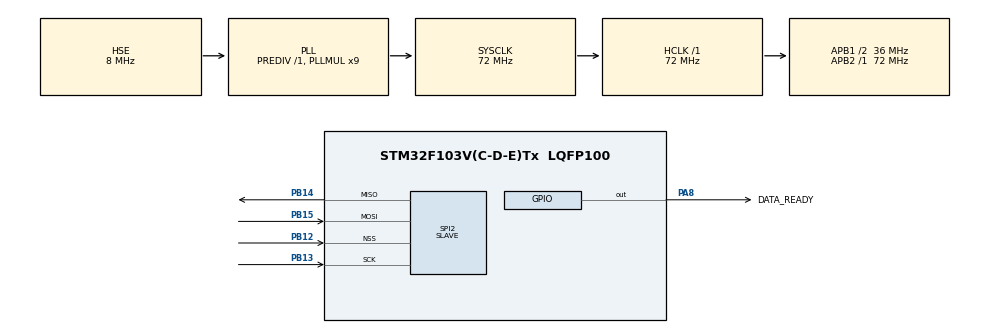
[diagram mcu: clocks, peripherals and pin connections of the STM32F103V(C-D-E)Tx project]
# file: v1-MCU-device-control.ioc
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Mcu.Family=STM32F1
Mcu.Name=STM32F103V(C-D-E)Tx
Mcu.Package=LQFP100
NVIC.PriorityGroup=NVIC_PRIORITYGROUP_4
NVIC.SPI2_IRQn=true\:1\:0\:true\:false\:true\:true\:true\:true
NVIC.TIM2_IRQn=true\:3\:0\:true\:false\:true\:true\:true\:true
OSC_IN.Mode=HSE-External-Oscillator
OSC_IN.Signal=RCC_OSC_IN
OSC_OUT.Mode=HSE-External-Oscillator
OSC_OUT.Signal=RCC_OSC_OUT
PA13.Mode=Serial_Wire
PA13.Signal=SYS_JTMS-SWDIO
PA14.Mode=Serial_Wire
PA14.Signal=SYS_JTCK-SWCLK
PA8.GPIO_Label=DATA_READY
PA8.Signal=GPIO_Output
PB12.Mode=NSS_Signal_Hard_Input
PB12.Signal=SPI2_NSS
PB13.Mode=Full_Duplex_Slave
PB13.Signal=SPI2_SCK
PB14.Mode=Full_Duplex_Slave
PB14.Signal=SPI2_MISO
PB15.Mode=Full_Duplex_Slave
PB15.Signal=SPI2_MOSI
ProjectManager.HeapSize=0x200
ProjectManager.StackSize=0x400
ProjectManager.TargetToolchain=CMake
RCC.AHBFreq_Value=72000000
RCC.APB1CLKDivider=RCC_HCLK_DIV2
RCC.APB1Freq_Value=36000000
RCC.APB1TimFreq_Value=72000000
RCC.APB2Freq_Value=72000000
RCC.APB2TimFreq_Value=72000000
RCC.HCLKFreq_Value=72000000
RCC.PLLMUL=RCC_PLL_MUL9
RCC.PLLSourceVirtual=RCC_PLLSOURCE_HSE
RCC.SYSCLKFreq_VALUE=72000000
RCC.SYSCLKSource=RCC_SYSCLKSOURCE_PLLCLK
RCC.USBFreq_Value=72000000
SPI2.Direction=SPI_DIRECTION_2LINES
SPI2.Mode=SPI_MODE_SLAVE
SPI2.VirtualNSS=VM_NSSHARD
SPI2.VirtualType=VM_SLAVE
TIM2.Period=9
TIM2.Prescaler=7199
VP_TIM2_VS_ClockSourceINT.Mode=Internal
board=custom

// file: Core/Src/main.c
/* USER CODE BEGIN Header */
/**
 ******************************************************************************
 * @file           : main.c
 * @brief          : Main program body
 ******************************************************************************
 * @attention
 *
 * Copyright (c) 2026 STMicroelectronics.
 * All rights reserved.
 *
 * This software is licensed under terms that can be found in the LICENSE file
 * in the root directory of this software component.
 * If no LICENSE file comes with this software, it is provided AS-IS.
 *
 ******************************************************************************
 */
/* USER CODE END Header */
#include "main.h"
#include "spi.h"
#include "tim.h"
#include "gpio.h"

/* USER CODE BEGIN Includes */
#include "devauth.h"

/* USER CODE END Includes */

/* USER CODE BEGIN PV */

/* ═══════════════════════════════════════════
 *  Protocol constants
 * ═══════════════════════════════════════════ */
#define FRAME_LEN 5
#define CMD_WRITE_FLAG 0x80
#define CMD_ADDR_MASK 0x7F

/* ═══════════════════════════════════════════
 *  Register addresses
 * ═══════════════════════════════════════════ */
#define REG_DEVICE_ID 0x00
#define REG_FW_VERSION 0x01
#define REG_STATUS 0x02
#define REG_CONTROL 0x03
#define REG_SAMPLE_RATE 0x04
#define REG_FIFO_LEVEL 0x05
#define REG_DATA_SEQ 0x06
#define REG_DATA_VAL 0x07
#define REG_OVERFLOW_COUNT 0x08
#define REG_SPI_REARM_FAIL 0x09
#define REG_SPI_ERROR_COUNT 0x0A
/* Device authentication (docs/security/device-authentication.md) */
#define REG_AUTH_NONCE0 0x10 /* ..0x13: 16-byte nonce, big-endian words */
#define REG_AUTH_CTRL 0x14   /* write 1: compute the MAC for the nonce */
#define REG_AUTH_MAC0 0x15   /* ..0x18: truncated HMAC, big-endian words */
#define REG_AUTH_CYCLES 0x19 /* CPU cycles the last MAC took (DWT) */
#define REG_NOP 0x7F

/* ═══════════════════════════════════════════
 *  STATUS bit definitions
 * ═══════════════════════════════════════════ */
#define ST_RUNNING (1u << 0)
#define ST_CMD_ERR (1u << 1)
#define ST_RANGE_ERR (1u << 2)
#define ST_SPI_RESYNC (1u << 3)
#define ST_AUTH_BUSY (1u << 4)
#define ST_AUTH_DONE (1u << 5)
#define ST_AUTH_NOKEY (1u << 6)

/* Written once at pairing, never by this firmware. */
#define DEVAUTH_KEY ((const uint8_t *)0x0807F800u)
#define DEVICE_ID 0xAC00ACC0u
#define FW_VERSION 0x00010400u /* v1.4: v1.3 + device authentication */

/* ═══════════════════════════════════════════
 *  SPI buffers
 * ═══════════════════════════════════════════ */
static uint8_t rx_buf[FRAME_LEN];
static uint8_t tx_buf[FRAME_LEN];

/* ═══════════════════════════════════════════
 *  Register state
 * ═══════════════════════════════════════════ */
static volatile uint32_t reg_status = 0;
static volatile uint32_t reg_control = 0;
static volatile uint32_t reg_sample_rate = 1000;

/* Device authentication. The SPI ISR only stores the nonce and raises
 * auth_request; the MAC is computed in the main loop, so the ISR keeps
 * re-arming within the inter-frame gap (see case-01/case-02). */
static volatile uint32_t auth_nonce[4];
static volatile uint32_t auth_mac[4];
static volatile uint32_t auth_cycles = 0;
static volatile uint8_t auth_request = 0;

/* ═══════════════════════════════════════════
 *  FIFO
 * ═══════════════════════════════════════════ */
#define FIFO_DEPTH 32

typedef struct
{
  uint32_t sequence;
  uint32_t value;
} FifoItem;

static FifoItem fifo_buf[FIFO_DEPTH];
static volatile uint16_t fifo_head = 0;     /* next write slot */
static volatile uint16_t fifo_tail = 0;     /* next read slot */
static volatile uint32_t fifo_overflow = 0; /* cumulative drop count */
static volatile uint32_t seq_counter = 0;   /* global monotonic sequence number */

/* Diagnostic counter: how many times HAL_SPI_TransmitReceive_IT failed to
 * re-arm. Used to check whether "once wedged, no further data ever comes
 * in" actually holds. */
static volatile uint32_t spi_rearm_fail = 0;

/* Diagnostic counter: total number of HAL_SPI_ErrorCallback invocations.
 * Used to distinguish "CPU still alive, SPI hardware keeps erroring" from
 * "CPU/interrupts stopped responding entirely at some point" (in the
 * latter case this counter simply stops increasing). */
static volatile uint32_t spi_error_count = 0;

/* peek/pop intermediate state */
static uint32_t last_seq = 0;
static uint32_t last_val = 0;
static uint8_t item_peeked = 0;

/* ═══════════════════════════════════════════
 *  Peripheral handles (declared elsewhere by CubeMX, externed here)
 * ═══════════════════════════════════════════ */
extern SPI_HandleTypeDef hspi2;
extern TIM_HandleTypeDef htim2;

/* USER CODE END PV */

void SystemClock_Config(void);
/* USER CODE BEGIN PFP */

static uint32_t unpack_u32(const uint8_t *p);
static void pack_u32(uint8_t *p, uint32_t v);
static uint32_t reg_read(uint8_t addr);
static void reg_write(uint8_t addr, uint32_t val);
static void handle_frame(void);
static void devauth_service(void);
static void spi_resync(void);
static void update_data_ready_gpio(void);
static void update_timer_rate(uint32_t rate_hz);
static void fifo_push(uint32_t value);
static uint8_t fifo_peek(uint32_t *seq_out, uint32_t *val_out);
static uint8_t fifo_pop(void);

/* USER CODE END PFP */

/* USER CODE BEGIN 0 */

/* ═══════════════════════════════════════════
 *  Utility functions
 * ═══════════════════════════════════════════ */
static uint32_t unpack_u32(const uint8_t *p)
{
  return ((uint32_t)p[0] << 24) | ((uint32_t)p[1] << 16) |
         ((uint32_t)p[2] << 8) | (uint32_t)p[3];
}

static void pack_u32(uint8_t *p, uint32_t v)
{
  p[0] = v >> 24;
  p[1] = v >> 16;
  p[2] = v >> 8;
  p[3] = v;
}

/* ═══════════════════════════════════════════
 *  FIFO operations
 * ═══════════════════════════════════════════ */
static uint16_t fifo_level(void) {
    uint16_t h = fifo_head;
    uint16_t t = fifo_tail;
    if (h >= t) return h - t;
    return FIFO_DEPTH - t + h;
}

static void fifo_push(uint32_t value) {
    uint16_t next = (fifo_head + 1) % FIFO_DEPTH;
    if (next == fifo_tail) {
        /* full - drop the sample */
        fifo_overflow++;
        return;
    }
    fifo_buf[fifo_head].sequence = seq_counter++;
    fifo_buf[fifo_head].value    = value;
    fifo_head = next;  /* this is what makes the new item visible to the consumer */
}

static uint8_t fifo_peek(uint32_t *seq_out, uint32_t *val_out) {
    if (fifo_head == fifo_tail) return 0;
    *seq_out = fifo_buf[fifo_tail].sequence;
    *val_out = fifo_buf[fifo_tail].value;
    return 1;
}

static uint8_t fifo_pop(void) {
    if (fifo_head == fifo_tail) return 0;
    fifo_tail = (fifo_tail + 1) % FIFO_DEPTH;
    return 1;
}
/* ═══════════════════════════════════════════
 *  DATA_READY GPIO
 * ═══════════════════════════════════════════ */
static void update_data_ready_gpio(void)
{
  // if (fifo_count > 0)
  // {
  //   HAL_GPIO_WritePin(GPIOA, GPIO_PIN_8, GPIO_PIN_SET);
  // }
  // else
  // {
  //   HAL_GPIO_WritePin(GPIOA, GPIO_PIN_8, GPIO_PIN_RESET);
  // }

      if (fifo_head != fifo_tail) {
        HAL_GPIO_WritePin(GPIOA, GPIO_PIN_8, GPIO_PIN_SET);
    } else {
        HAL_GPIO_WritePin(GPIOA, GPIO_PIN_8, GPIO_PIN_RESET);
    }

}

/* ═══════════════════════════════════════════
 *  Timer rate update
 * ═══════════════════════════════════════════ */
static void update_timer_rate(uint32_t rate_hz)
{
  /*
   * base freq = 72 MHz / 7200 = 10000 Hz
   * period = 10000 / rate_hz
   * rate_hz valid range 1-10000 -> period range 1-10000
   */
  uint32_t period = 10000 / rate_hz;
  if (period < 1)
    period = 1;

  __HAL_TIM_SET_AUTORELOAD(&htim2, period - 1);
  __HAL_TIM_SET_COUNTER(&htim2, 0);
}

/* ═══════════════════════════════════════════
 *  SPI error recovery
 * ═══════════════════════════════════════════ */
static void spi_resync(void)
{
  volatile uint32_t tmp;

  __HAL_SPI_DISABLE(&hspi2);
  tmp = hspi2.Instance->DR;
  tmp = hspi2.Instance->SR;
  (void)tmp;
  __HAL_SPI_CLEAR_OVRFLAG(&hspi2);

  hspi2.State = HAL_SPI_STATE_READY;
  hspi2.ErrorCode = HAL_SPI_ERROR_NONE;
  hspi2.Lock = HAL_UNLOCKED; /* guards against the previous error path leaving
                                the lock held, which would make every future
                                HAL_SPI_TransmitReceive_IT call silently
                                return HAL_BUSY forever */

  reg_status |= ST_SPI_RESYNC;

  __HAL_SPI_ENABLE(&hspi2);
}

/* ═══════════════════════════════════════════
 *  Register read
 * ═══════════════════════════════════════════ */
static uint32_t reg_read(uint8_t addr)
{
  switch (addr)
  {
  /* -- carried over from V1.2 -- */
  case REG_DEVICE_ID:
    return DEVICE_ID;

  case REG_FW_VERSION:
    return FW_VERSION;

  case REG_STATUS:
    return reg_status;

  case REG_CONTROL:
    return reg_control;

  case REG_SAMPLE_RATE:
    return reg_sample_rate;

  case REG_NOP:
    return 0;

  /* -- new in V1.3 -- */
  case REG_FIFO_LEVEL:
    return fifo_level();

  case REG_DATA_SEQ:
    if (fifo_peek(&last_seq, &last_val))
    {
      item_peeked = 1;
      return last_seq;
    }
    return 0;

  case REG_DATA_VAL:
    if (item_peeked)
    {
      item_peeked = 0;
      fifo_pop();
      update_data_ready_gpio();
      return last_val;
    }
    if (fifo_peek(&last_seq, &last_val))
    {
      fifo_pop();
      update_data_ready_gpio();
      return last_val;
    }
    return 0;

  case REG_OVERFLOW_COUNT:
    return fifo_overflow;

  case REG_SPI_REARM_FAIL:
    return spi_rearm_fail;

  case REG_AUTH_NONCE0:
  case REG_AUTH_NONCE0 + 1:
  case REG_AUTH_NONCE0 + 2:
  case REG_AUTH_NONCE0 + 3:
    return auth_nonce[addr - REG_AUTH_NONCE0];
  case REG_AUTH_MAC0:
  case REG_AUTH_MAC0 + 1:
  case REG_AUTH_MAC0 + 2:
  case REG_AUTH_MAC0 + 3:
    return auth_mac[addr - REG_AUTH_MAC0];
  case REG_AUTH_CYCLES:
    return auth_cycles;
  case REG_SPI_ERROR_COUNT:
    return spi_error_count;

  default:
    reg_status |= ST_CMD_ERR;
    return 0;
  }
}

/* ═══════════════════════════════════════════
 *  Register write
 * ═══════════════════════════════════════════ */
static void reg_write(uint8_t addr, uint32_t val)
{
  switch (addr)
  {
  case REG_AUTH_NONCE0:
  case REG_AUTH_NONCE0 + 1:
  case REG_AUTH_NONCE0 + 2:
  case REG_AUTH_NONCE0 + 3:
    auth_nonce[addr - REG_AUTH_NONCE0] = val;
    break;

  case REG_AUTH_CTRL:
    if (val & 0x01u)
    {
      reg_status &= ~(ST_AUTH_DONE | ST_AUTH_NOKEY);
      reg_status |= ST_AUTH_BUSY;
      auth_request = 1;
    }
    break;

  case REG_CONTROL:
    /* CLEAR_FLAGS */
    if (val & 0x02u)
    {
      reg_status &= ~(ST_CMD_ERR | ST_RANGE_ERR | ST_SPI_RESYNC);
      val &= ~0x02u;
    }
    reg_control = val & 0x01u;

    if (reg_control & 0x01u)
    {
      /* START */
      reg_status |= ST_RUNNING;
      seq_counter = 0;
      fifo_head = 0;
      fifo_tail = 0;
      fifo_overflow = 0;
      item_peeked = 0;
      update_data_ready_gpio();
      update_timer_rate(reg_sample_rate);
      HAL_TIM_Base_Start_IT(&htim2);
    }
    else
    {
      /* STOP */
      reg_status &= ~ST_RUNNING;
      HAL_TIM_Base_Stop_IT(&htim2);
      update_data_ready_gpio();
    }
    break;

  case REG_SAMPLE_RATE:
    if (val >= 1u && val <= 10000u)
    {
      reg_sample_rate = val;
      /* if acquisition is running, apply the new rate immediately */
      if (reg_control & 0x01u)
      {
        update_timer_rate(val);
      }
    }
    else
    {
      reg_status |= ST_RANGE_ERR;
    }
    break;

  default:
    /* read-only register or undefined address */
    reg_status |= ST_CMD_ERR;
    break;
  }
}

/* ═══════════════════════════════════════════
 *  Frame handling (called from the SPI callback)
 * ═══════════════════════════════════════════ */
static void handle_frame(void)
{
  uint8_t cmd = rx_buf[0];
  uint8_t addr = cmd & CMD_ADDR_MASK;
  uint32_t resp = 0;

  if (cmd & CMD_WRITE_FLAG)
  {
    reg_write(addr, unpack_u32(&rx_buf[1]));
    resp = 0;
  }
  else
  {
    resp = reg_read(addr);
  }

  tx_buf[0] = cmd; /* ECHO */
  pack_u32(&tx_buf[1], resp);
}

/* ═══════════════════════════════════════════
 *  Device authentication (main loop, not ISR)
 * ═══════════════════════════════════════════ */
static void devauth_service(void)
{
  uint8_t nonce[DEVAUTH_NONCE_LEN];
  uint8_t mac[DEVAUTH_MAC_LEN] = {0};
  uint32_t t0;

  auth_request = 0;
  /* Copy once: the ISR may overwrite the registers while we compute. */
  for (int i = 0; i < 4; i++)
  {
    pack_u32(&nonce[4 * i], auth_nonce[i]);
  }

  if (!devauth_key_present(DEVAUTH_KEY))
  {
    for (int i = 0; i < 4; i++)
    {
      auth_mac[i] = 0;
    }
    reg_status = (reg_status & ~ST_AUTH_BUSY) | ST_AUTH_NOKEY | ST_AUTH_DONE;
    return;
  }

  t0 = DWT->CYCCNT;
  devauth_compute(DEVAUTH_KEY, DEVICE_ID, FW_VERSION, nonce, mac);
  auth_cycles = DWT->CYCCNT - t0;

  for (int i = 0; i < 4; i++)
  {
    auth_mac[i] = unpack_u32(&mac[4 * i]);
  }
  reg_status = (reg_status & ~ST_AUTH_BUSY) | ST_AUTH_DONE;
}

/* USER CODE END 0 */

int main(void)
{

  /* MCU Configuration--------------------------------------------------------*/

  /* Reset of all peripherals, Initializes the Flash interface and the Systick. */
  HAL_Init();

  /* Configure the system clock */
  SystemClock_Config();

  /* Initialize all configured peripherals */
  MX_GPIO_Init();
  MX_SPI2_Init();
  MX_TIM2_Init();
  /* USER CODE BEGIN 2 */

  /* Cycle counter, to measure what device authentication costs. */
  CoreDebug->DEMCR |= CoreDebug_DEMCR_TRCENA_Msk;
  DWT->CYCCNT = 0;
  DWT->CTRL |= DWT_CTRL_CYCCNTENA_Msk;

  /* prepare the first tx_buf frame (what the slave replies with right after power-on) */
  tx_buf[0] = REG_NOP;
  pack_u32(&tx_buf[1], 0);

  /* DATA_READY starts low */
  HAL_GPIO_WritePin(GPIOA, GPIO_PIN_8, GPIO_PIN_RESET);

  /* V7: PA9 as a dedicated sample-produced marker pin for a logic
   * analyzer, physically adjacent to PA8 (DATA_READY) on this board's
   * header - not a CubeMX-managed pin (not in the .ioc), added here by
   * hand since GPIOA's clock is already enabled by MX_GPIO_Init() above.
   * Toggled once per sample in HAL_TIM_PeriodElapsedCallback() below,
   * right after fifo_push(). */
  {
    GPIO_InitTypeDef sample_mark_init = {0};
    HAL_GPIO_WritePin(GPIOA, GPIO_PIN_9, GPIO_PIN_RESET);
    sample_mark_init.Pin = GPIO_PIN_9;
    sample_mark_init.Mode = GPIO_MODE_OUTPUT_PP;
    sample_mark_init.Pull = GPIO_NOPULL;
    sample_mark_init.Speed = GPIO_SPEED_FREQ_HIGH;
    HAL_GPIO_Init(GPIOA, &sample_mark_init);
  }

  /* start interrupt-mode SPI receive - returns immediately, non-blocking */
  HAL_SPI_TransmitReceive_IT(&hspi2, tx_buf, rx_buf, FRAME_LEN);

  /* USER CODE END 2 */

  /* Infinite loop */
  while (1)
  {

    /* USER CODE BEGIN 3 */
    if (auth_request)
    {
      devauth_service();
    }
  }
  /* USER CODE END 3 */
}

void SystemClock_Config(void)
{
  RCC_OscInitTypeDef RCC_OscInitStruct = {0};
  RCC_ClkInitTypeDef RCC_ClkInitStruct = {0};

  /** Initializes the RCC Oscillators according to the specified parameters
  * in the RCC_OscInitTypeDef structure.
  */
  RCC_OscInitStruct.OscillatorType = RCC_OSCILLATORTYPE_HSE;
  RCC_OscInitStruct.HSEState = RCC_HSE_ON;
  RCC_OscInitStruct.HSEPredivValue = RCC_HSE_PREDIV_DIV1;
  RCC_OscInitStruct.HSIState = RCC_HSI_ON;
  RCC_OscInitStruct.PLL.PLLState = RCC_PLL_ON;
  RCC_OscInitStruct.PLL.PLLSource = RCC_PLLSOURCE_HSE;
  RCC_OscInitStruct.PLL.PLLMUL = RCC_PLL_MUL9;
  if (HAL_RCC_OscConfig(&RCC_OscInitStruct) != HAL_OK)
  {
    Error_Handler();
  }

  /** Initializes the CPU, AHB and APB buses clocks
  */
  RCC_ClkInitStruct.ClockType = RCC_CLOCKTYPE_HCLK|RCC_CLOCKTYPE_SYSCLK
                              |RCC_CLOCKTYPE_PCLK1|RCC_CLOCKTYPE_PCLK2;
  RCC_ClkInitStruct.SYSCLKSource = RCC_SYSCLKSOURCE_PLLCLK;
  RCC_ClkInitStruct.AHBCLKDivider = RCC_SYSCLK_DIV1;
  RCC_ClkInitStruct.APB1CLKDivider = RCC_HCLK_DIV2;
  RCC_ClkInitStruct.APB2CLKDivider = RCC_HCLK_DIV1;

  if (HAL_RCC_ClockConfig(&RCC_ClkInitStruct, FLASH_LATENCY_2) != HAL_OK)
  {
    Error_Handler();
  }
}

/* USER CODE BEGIN 4 */

/* ═══════════════════════════════════════════
 *  SPI interrupt callback: one frame's TX/RX complete
 * ═══════════════════════════════════════════ */
void HAL_SPI_TxRxCpltCallback(SPI_HandleTypeDef *hspi)
{
  if (hspi->Instance == SPI2)
  {
    handle_frame();
    /* immediately re-arm for the next frame */
    if (HAL_SPI_TransmitReceive_IT(&hspi2, tx_buf, rx_buf, FRAME_LEN) != HAL_OK)
    {
      spi_rearm_fail++;
    }
  }
}

/* ═══════════════════════════════════════════
 *  SPI error callback
 * ═══════════════════════════════════════════ */
void HAL_SPI_ErrorCallback(SPI_HandleTypeDef *hspi)
{
  if (hspi->Instance == SPI2)
  {
    spi_error_count++;
    spi_resync();
    if (HAL_SPI_TransmitReceive_IT(&hspi2, tx_buf, rx_buf, FRAME_LEN) != HAL_OK)
    {
      spi_rearm_fail++;
    }
  }
}

/* ═══════════════════════════════════════════
 *  Timer interrupt callback: produce one sample
 * ═══════════════════════════════════════════ */
void HAL_TIM_PeriodElapsedCallback(TIM_HandleTypeDef *htim)
{
  if (htim->Instance == TIM2)
  {
    if (reg_control & 0x01u)
    {
      /*
       * synthesized data: use the low 16 bits of the sequence number
       * as the value - swap in a sine LUT, triangle wave, or anything
       * else you want here
       */
      uint32_t sample_value = seq_counter & 0xFFFFu;
      fifo_push(sample_value);
      update_data_ready_gpio();
      /* V7: mark the exact moment this sample was produced, for a logic
       * analyzer on PA9 - see gpio.c's USER CODE 2 block for pin init. */
      HAL_GPIO_TogglePin(GPIOA, GPIO_PIN_9);
    }
  }
}

/* USER CODE END 4 */

void Error_Handler(void)
{
  __disable_irq();
  while (1)
  {
  }
}
